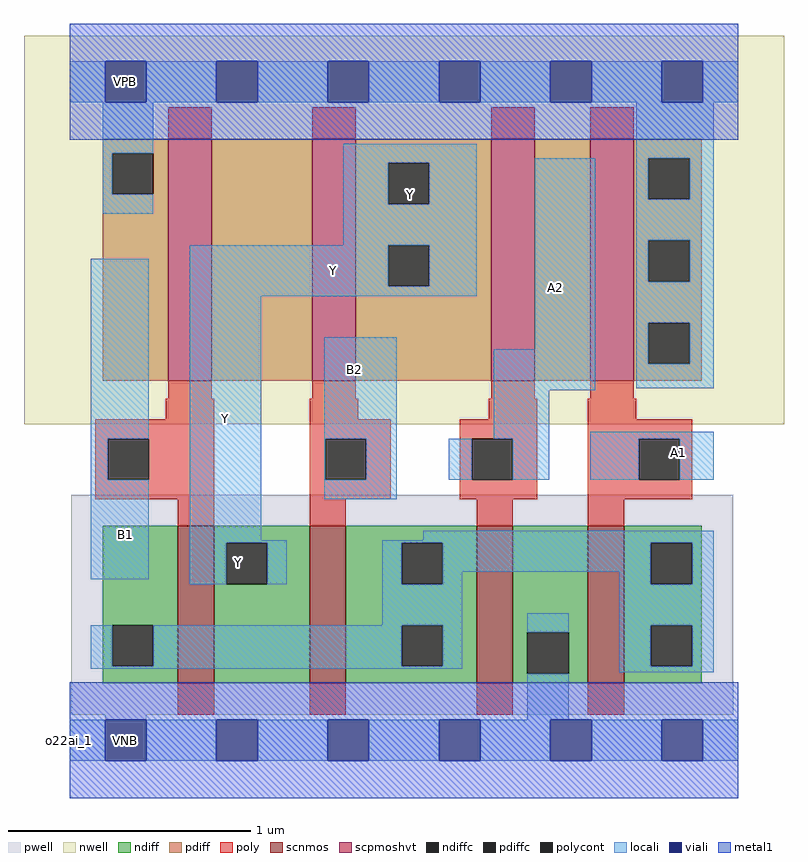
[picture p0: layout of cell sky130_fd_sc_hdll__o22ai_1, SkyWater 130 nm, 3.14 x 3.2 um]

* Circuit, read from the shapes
.subckt sky130_fd_sc_hdll__o22ai_1 A1 A2 B1 B2 VGND VNB VPB VPWR Y
XM1 Y B1 n1 VNB sky130_fd_pr__nfet_01v8 w=0.65 l=0.15
XM2 n1 B2 Y VNB sky130_fd_pr__nfet_01v8 w=0.65 l=0.15
XM3 VGND A2 n1 VNB sky130_fd_pr__nfet_01v8 w=0.65 l=0.15
XM4 n1 A1 VGND VNB sky130_fd_pr__nfet_01v8 w=0.65 l=0.15
XM5 n2 B1 VPWR VPB sky130_fd_pr__pfet_01v8_hvt w=1 l=0.18
XM6 Y B2 n2 VPB sky130_fd_pr__pfet_01v8_hvt w=1 l=0.18
XM7 n3 A2 Y VPB sky130_fd_pr__pfet_01v8_hvt w=1 l=0.18
XM8 VPWR A1 n3 VPB sky130_fd_pr__pfet_01v8_hvt w=1 l=0.18
.ends

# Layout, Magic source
magic
tech sky130A
magscale 1 2
<< nwell >>
rect -38 261 590 582
<< pwell >>
rect 1 21 548 203
rect 29 -17 63 21
<< scnmos >>
rect 89 47 119 177
rect 198 47 228 177
rect 336 47 366 177
rect 428 47 458 177
<< scpmoshvt >>
rect 81 297 117 497
rect 200 297 236 497
rect 348 297 384 497
rect 430 297 466 497
<< ndiff >>
rect 27 95 89 177
rect 27 61 35 95
rect 69 61 89 95
rect 27 47 89 61
rect 119 163 198 177
rect 119 129 129 163
rect 163 129 198 163
rect 119 47 198 129
rect 228 163 336 177
rect 228 129 274 163
rect 308 129 336 163
rect 228 95 336 129
rect 228 61 274 95
rect 308 61 336 95
rect 228 47 336 61
rect 366 89 428 177
rect 366 55 378 89
rect 412 55 428 89
rect 366 47 428 55
rect 458 163 522 177
rect 458 129 480 163
rect 514 129 522 163
rect 458 95 522 129
rect 458 61 480 95
rect 514 61 522 95
rect 458 47 522 61
<< pdiff >>
rect 27 485 81 497
rect 27 451 35 485
rect 69 451 81 485
rect 27 297 81 451
rect 117 297 200 497
rect 236 477 348 497
rect 236 443 263 477
rect 297 443 348 477
rect 236 409 348 443
rect 236 375 263 409
rect 297 375 348 409
rect 236 297 348 375
rect 384 297 430 497
rect 466 481 522 497
rect 466 447 478 481
rect 512 447 522 481
rect 466 413 522 447
rect 466 379 478 413
rect 512 379 522 413
rect 466 345 522 379
rect 466 311 478 345
rect 512 311 522 345
rect 466 297 522 311
<< ndiffc >>
rect 35 61 69 95
rect 129 129 163 163
rect 274 129 308 163
rect 274 61 308 95
rect 378 55 412 89
rect 480 129 514 163
rect 480 61 514 95
<< pdiffc >>
rect 35 451 69 485
rect 263 443 297 477
rect 263 375 297 409
rect 478 447 512 481
rect 478 379 512 413
rect 478 311 512 345
<< poly >>
rect 81 497 117 523
rect 200 497 236 523
rect 348 497 384 523
rect 430 497 466 523
rect 81 282 117 297
rect 200 282 236 297
rect 348 282 384 297
rect 430 282 466 297
rect 79 265 119 282
rect 21 249 119 265
rect 21 215 31 249
rect 65 215 119 249
rect 21 199 119 215
rect 89 177 119 199
rect 198 265 238 282
rect 346 265 386 282
rect 198 249 265 265
rect 198 215 211 249
rect 245 215 265 249
rect 198 199 265 215
rect 322 249 386 265
rect 322 215 332 249
rect 366 215 386 249
rect 322 199 386 215
rect 428 265 468 282
rect 428 249 514 265
rect 428 215 470 249
rect 504 215 514 249
rect 428 199 514 215
rect 198 177 228 199
rect 336 177 366 199
rect 428 177 458 199
rect 89 21 119 47
rect 198 21 228 47
rect 336 21 366 47
rect 428 21 458 47
<< polycont >>
rect 31 215 65 249
rect 211 215 245 249
rect 332 215 366 249
rect 470 215 504 249
<< locali >>
rect 0 527 29 561
rect 63 527 121 561
rect 155 527 213 561
rect 247 527 305 561
rect 339 527 397 561
rect 431 527 489 561
rect 523 527 552 561
rect 27 485 69 527
rect 27 451 35 485
rect 27 435 69 451
rect 226 477 336 493
rect 468 481 532 527
rect 226 443 263 477
rect 297 443 336 477
rect 226 409 336 443
rect 17 249 65 398
rect 17 215 31 249
rect 17 133 65 215
rect 99 375 263 409
rect 297 375 336 409
rect 99 367 336 375
rect 99 165 158 367
rect 210 249 270 333
rect 384 323 434 481
rect 350 289 434 323
rect 468 447 478 481
rect 512 447 532 481
rect 468 413 532 447
rect 468 379 478 413
rect 512 379 532 413
rect 468 345 532 379
rect 468 311 478 345
rect 512 311 532 345
rect 468 291 532 311
rect 350 249 396 289
rect 210 215 211 249
rect 245 215 270 249
rect 313 215 332 249
rect 366 215 396 249
rect 430 249 532 255
rect 430 215 470 249
rect 504 215 532 249
rect 210 199 270 215
rect 292 165 532 173
rect 99 163 179 165
rect 99 129 129 163
rect 163 129 179 163
rect 258 163 532 165
rect 258 129 274 163
rect 308 139 480 163
rect 308 129 324 139
rect 258 95 324 129
rect 454 129 480 139
rect 514 129 532 163
rect 17 61 35 95
rect 69 61 274 95
rect 308 61 324 95
rect 17 59 324 61
rect 378 89 412 105
rect 454 95 532 129
rect 454 61 480 95
rect 514 61 532 95
rect 454 56 532 61
rect 378 17 412 55
rect 0 -17 29 17
rect 63 -17 121 17
rect 155 -17 213 17
rect 247 -17 305 17
rect 339 -17 397 17
rect 431 -17 489 17
rect 523 -17 552 17
<< viali >>
rect 29 527 63 561
rect 121 527 155 561
rect 213 527 247 561
rect 305 527 339 561
rect 397 527 431 561
rect 489 527 523 561
rect 29 -17 63 17
rect 121 -17 155 17
rect 213 -17 247 17
rect 305 -17 339 17
rect 397 -17 431 17
rect 489 -17 523 17
<< metal1 >>
rect 0 561 552 592
rect 0 527 29 561
rect 63 527 121 561
rect 155 527 213 561
rect 247 527 305 561
rect 339 527 397 561
rect 431 527 489 561
rect 523 527 552 561
rect 0 496 552 527
rect 0 17 552 48
rect 0 -17 29 17
rect 63 -17 121 17
rect 155 -17 213 17
rect 247 -17 305 17
rect 339 -17 397 17
rect 431 -17 489 17
rect 523 -17 552 17
rect 0 -48 552 -17
<< labels >>
flabel locali s 218 289 252 323 0 FreeSans 400 0 0 0 B2
port 4 nsew signal input
flabel locali s 486 221 520 255 0 FreeSans 400 0 0 0 A1
port 1 nsew signal input
flabel locali s 226 409 336 493 0 FreeSans 400 0 0 0 Y
port 9 nsew signal output
flabel locali s 29 153 63 187 0 FreeSans 400 0 0 0 B1
port 3 nsew signal input
flabel locali s 384 357 418 391 0 FreeSans 400 0 0 0 A2
port 2 nsew signal input
flabel nwell s 29 527 63 561 0 FreeSans 200 0 0 0 VPB
port 7 nsew power bidirectional
flabel pwell s 29 -17 63 17 0 FreeSans 200 0 0 0 VNB
port 6 nsew ground bidirectional
flabel metal1 s 29 527 63 561 0 FreeSans 200 0 0 0 VPWR
port 8 nsew power bidirectional
flabel metal1 s 29 -17 63 17 0 FreeSans 200 0 0 0 VGND
port 5 nsew ground bidirectional
rlabel comment s 0 0 0 0 4 o22ai_1
rlabel locali s 99 367 336 409 1 Y
port 9 nsew signal output
rlabel locali s 99 165 158 367 1 Y
port 9 nsew signal output
rlabel locali s 99 129 179 165 1 Y
port 9 nsew signal output
<< properties >>
string LEFsite unithd
string LEFclass CORE
string FIXED_BBOX 0 0 552 544
string GDS_FILE $PDKPATH/libs.ref/sky130_fd_sc_hdll/gds/sky130_fd_sc_hdll.gds
string LEFsymmetry X Y R90
string GDS_END 159540
string GDS_START 154464
string LEFproperties maskLayoutSubType "abstract" prCellType "standard" originalViewName "layout"
<< end >>
